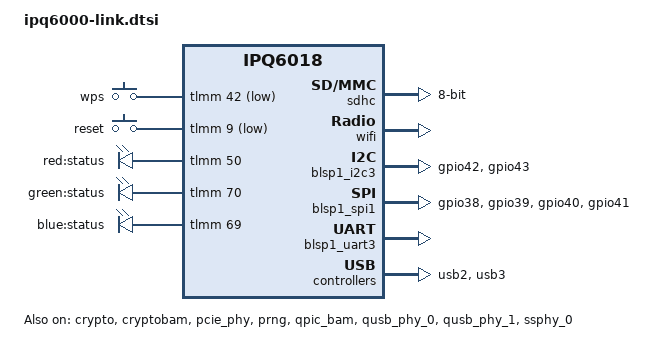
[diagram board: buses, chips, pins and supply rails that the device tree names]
// SPDX-License-Identifier: GPL-2.0-or-later OR MIT

#include "ipq6018-512m.dtsi"
#include "ipq6018-ess.dtsi"
#include "ipq6018-nss.dtsi"

#include <dt-bindings/gpio/gpio.h>
#include <dt-bindings/input/input.h>
#include <dt-bindings/leds/common.h>

/ {
	aliases {
		serial0 = &blsp1_uart3;
		sdhc1 = &sdhc;

		led-boot = &led_status_blue;
		led-failsafe = &led_status_red;
		led-running = &led_status_green;
		led-upgrade = &led_status_red;
	};

	chosen {
		stdout-path = "serial0:115200n8";
	};

	keys {
		compatible = "gpio-keys";

		wps {
			label = "wps";
			linux,code = <KEY_WPS_BUTTON>;
			gpios = <&tlmm 42 GPIO_ACTIVE_LOW>;
		};

		reset {
			label = "reset";
			linux,code = <KEY_RESTART>;
			gpios = <&tlmm 9 GPIO_ACTIVE_LOW>;
		};
	};

	leds {
		compatible = "gpio-leds";

		led_status_red: status-red {
			label = "red:status";
			gpios = <&tlmm 50 GPIO_ACTIVE_HIGH>;
		};

		led_status_green: status-green {
			label = "green:status";
			gpios = <&tlmm 70 GPIO_ACTIVE_HIGH>;
		};

		led_status_blue: status-blue {
			label = "blue:status";
			gpios = <&tlmm 69 GPIO_ACTIVE_HIGH>;
		};
	};
};

&sdhc {
	status = "okay";
	bus-width = <8>;
	/delete-property/ mmc-hs400-1_8v;
	mmc-hs200-1_8v;
	mmc-ddr-1_8v;
	non-removable
};

&wifi {
	status = "okay";
	qcom,ath11k-fw-memory-mode = <1>;
	qcom,ath11k-calibration-variant = "Link-NN6000";
};

&edma {
	status = "okay";
};

&tlmm {
	gpio-reserved-ranges = <20 1>;

	mdio_pins: mdio-pins {
		mdc {
			pins = "gpio64";
			function = "mdc";
			drive-strength = <8>;
			bias-pull-up;
		};

		mdio {
			pins = "gpio65";
			function = "mdio";
			drive-strength = <8>;
			bias-pull-up;
		};
	};

	i2c_1_pins: i2c-1-state {
		pins = "gpio42", "gpio43";
		function = "blsp2_i2c";
		drive-strength = <8>;
	};

	spi_0_pins: spi-0-state {
		pins = "gpio38", "gpio39", "gpio40", "gpio41";
		function = "blsp0_spi";
		drive-strength = <8>;
		bias-pull-down;
	};
};

&blsp1_i2c3 {
	status = "okay";
	pinctrl-0 = <&i2c_1_pins>;
	pinctrl-names = "default";
};

&blsp1_spi1 {
	status = "okay";
	pinctrl-0 = <&spi_0_pins>;
	pinctrl-names = "default";
};

&blsp1_uart3 {
	status = "okay";
	pinctrl-0 = <&serial_3_pins>;
	pinctrl-names = "default";
};

&rpm {
	status = "disabled";
};

&crypto {
	status = "okay";
};

&cryptobam {
	status = "okay";
};

&pcie_phy {
	status = "okay";
};

&prng {
	status = "okay";
};

&qpic_bam {
	status = "okay";
};

&qusb_phy_0 {
	status = "okay";
};

&qusb_phy_1 {
	status = "okay";
};

&ssphy_0 {
	status = "okay";
};

&usb2 {
	status = "okay";
};

&usb3 {
	status = "okay";
};
